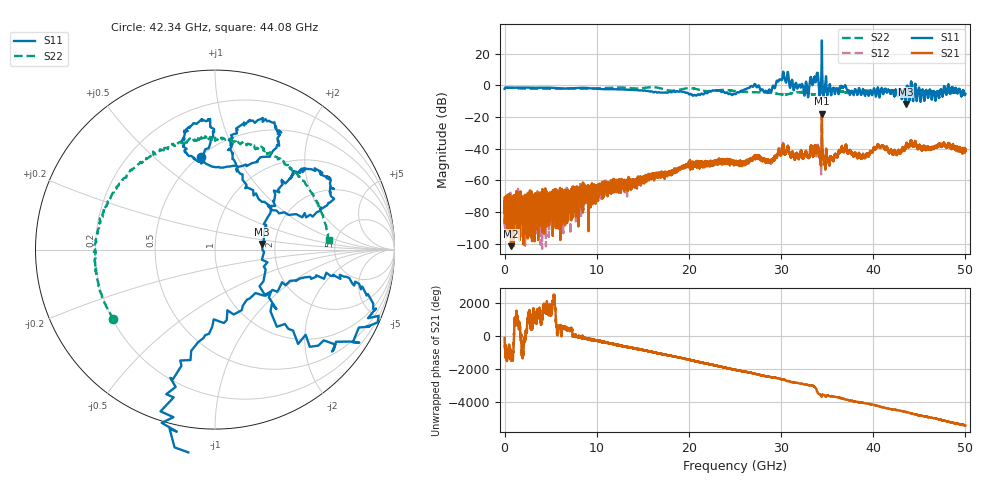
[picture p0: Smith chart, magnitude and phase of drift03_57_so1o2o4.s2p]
!Created with skrf (http://scikit-rf.org).
# Hz S RI R 50.0
!freq ReS11 ImS11 ReS21 ImS21 ReS12 ImS12 ReS22 ImS22
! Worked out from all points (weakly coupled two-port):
!   10000 points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, 5.3 MHz to 50 GHz, reference 50 ohm
!   highest |S21| = -17.74 dB at 34.43 GHz (marker M1); lowest = -101.6 dB at 695.3 MHz (marker M2)
!   lowest |S11| = -11.6 dB at 43.52 GHz (marker M3), VSWR 1.71, Z = 85 + j5.76 ohm
!   |S11| at or under -10 dB: 43.4838 GHz to 43.48972 GHz (5.916 MHz wide, 0.0136 % of centre); 43.49025 GHz to 43.54843 GHz (58.18 MHz wide, 0.134 % of centre); 45.13687 GHz to 45.14238 GHz (5.507 MHz wide, 0.0122 % of centre)
!   |S22| runs from -5.8 to -1.1 dB; largest |S21 - S12| = 0.035
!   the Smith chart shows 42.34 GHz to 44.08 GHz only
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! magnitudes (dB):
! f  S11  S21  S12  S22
! 5.3 MHz  -2.1  -76.1  -89.1  -1.3
! 695.3 MHz  -1.4  -101.6  -79.1  -1.5
! 4.26 GHz  -1.4  -73.5  -71.8  -2.0
! 8.34 GHz  -1.5  -67.3  -66.7  -2.1
! 16.67 GHz  -4.4  -58.2  -56.6  -1.5
! 20.15 GHz  -5.5  -51.4  -49.4  -1.7
! 25.01 GHz  -5.5  -49.7  -48.7  -3.5
! 27.02 GHz  -0.4  -46.2  -45.7  -4.2
! 28.72 GHz  -2.5  -48.5  -47.8  -4.5
! 30.14 GHz  4.4  -40.9  -40.4  -5.7
! 32.74 GHz  2.0  -42.6  -41.9  -4.6
! 33.34 GHz  2.6  -39.7  -40.7  -5.6
! 33.82 GHz  4.0  -42.5  -42.1  -5.7
! 34.43 GHz  28.5  -17.7  -19.1  -4.6
! 35.3 GHz  0.5  -47.7  -46.5  -3.3
! 36.85 GHz  -0.7  -41.5  -41.4  -4.3
! 38.85 GHz  -2.8  -44.4  -44.3  -3.2
! 40.59 GHz  -4.0  -38.2  -38.1  -4.1
! 41.67 GHz  -2.9  -41.5  -42.1  -3.3
! 43.52 GHz  -11.6  -39.0  -38.9  -4.1
! 48.33 GHz  -4.6  -37.5  -38.3  -4.5
! 50 GHz  -5.3  -40.5  -40.7  -4.5
